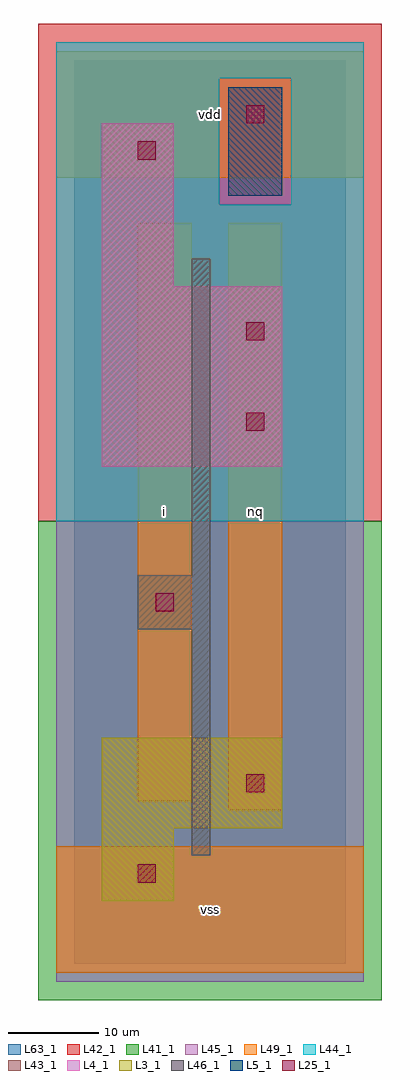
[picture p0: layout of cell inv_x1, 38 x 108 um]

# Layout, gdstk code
import gdstk
lib = gdstk.Library(unit=1e-6, precision=1e-09)
def R(c, l, rs):  # rectangles x0, y0, x1, y1
    for r in rs: c.add(gdstk.rectangle(r[:2], r[2:], *l))
L3_1 = (3, 1)
L4_1 = (4, 1)
L5_1 = (5, 1)
L25_1 = (25, 1)
L41_1 = (41, 1)
L42_1 = (42, 1)
L43_1 = (43, 1)
L44_1 = (44, 1)
L45_1 = (45, 1)
L46_1 = (46, 1)
L49_1 = (49, 1)
L63_1 = (63, 1)

inv_x1 = lib.new_cell('inv_x1')
R(inv_x1, L3_1, [(3,7,11,15), (3,15,23,25)])
R(inv_x1, L4_1, [(3,55,23,75), (3,75,11,93)])
R(inv_x1, L5_1, [(17,85,23,97)])
R(inv_x1, L25_1, [(7,9,9,11), (19,19,21,21), (9,39,11,41), (19,59,21,61), (19,69,21,71), (7,89,9,91), (19,93,21,95)])
R(inv_x1, L41_1, [(-4,-4,34,49)])
R(inv_x1, L42_1, [(-4,49,34,104)])
R(inv_x1, L43_1, [(3,7,11,15), (3,15,23,25), (3,55,23,75), (3,75,11,93), (17,85,23,97)])
R(inv_x1, L44_1, [(-2,49,32,84), (-2,84,16,98), (24,84,32,98), (-2,98,32,102)])
R(inv_x1, L45_1, [(-2,-2,32,49), (16,84,24,98)])
R(inv_x1, L46_1, [(13,12,15,37), (7,37,15,43), (13,43,15,78)])
R(inv_x1, L49_1, [(-2,-1,32,13), (17,17,23,82), (7,18,13,82), (-2,87,32,101)])
R(inv_x1, L63_1, [(0,0,30,100)])
inv_x1.add(gdstk.Label('vss', (15,6), layer=49, texttype=1))
inv_x1.add(gdstk.Label('vss', (15,6), layer=49, texttype=1))
inv_x1.add(gdstk.Label('i', (10,50), layer=49, texttype=1))
inv_x1.add(gdstk.Label('i', (10,50), layer=49, texttype=1))
inv_x1.add(gdstk.Label('vdd', (15,94), layer=49, texttype=1))
inv_x1.add(gdstk.Label('vdd', (15,94), layer=49, texttype=1))
inv_x1.add(gdstk.Label('nq', (20,50), layer=49, texttype=1))
inv_x1.add(gdstk.Label('nq', (20,50), layer=49, texttype=1))

lib.write_gds('inv_x1.gds')
